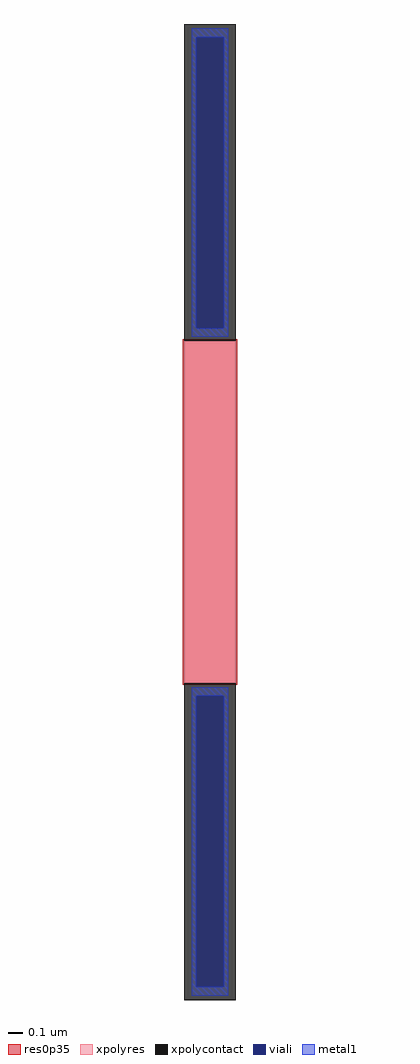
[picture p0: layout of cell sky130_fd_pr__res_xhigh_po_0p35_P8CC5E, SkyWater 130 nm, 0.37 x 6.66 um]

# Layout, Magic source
magic
tech sky130A
magscale 1 2
<< xpolycontact >>
rect -35 234 35 666
rect -35 -666 35 -234
<< xpolyres >>
rect -35 -234 35 234
<< viali >>
rect -19 251 19 648
rect -19 -648 19 -251
<< metal1 >>
rect -25 648 25 660
rect -25 251 -19 648
rect 19 251 25 648
rect -25 239 25 251
rect -25 -251 25 -239
rect -25 -648 -19 -251
rect 19 -648 25 -251
rect -25 -660 25 -648
<< res0p35 >>
rect -37 -236 37 236
<< properties >>
string gencell sky130_fd_pr__res_xhigh_po_0p35
string parameters w 0.350 l 2.34 m 1 nx 1 wmin 0.350 lmin 0.50 rho 2000 val 14.057k dummy 0 dw 0.0 term 120 sterm 0.0 caplen 0 wmax 0.350 guard 0 glc 0 grc 0 gtc 0 gbc 0 compatible {sky130_fd_pr__res_xhigh_po_0p35  sky130_fd_pr__res_xhigh_po_0p69 sky130_fd_pr__res_xhigh_po_1p41  sky130_fd_pr__res_xhigh_po_2p85 sky130_fd_pr__res_xhigh_po_5p73} full_metal 0 vias 1 viagb 0 viagt 0 viagl 0 viagr 0
string library sky130
<< end >>
